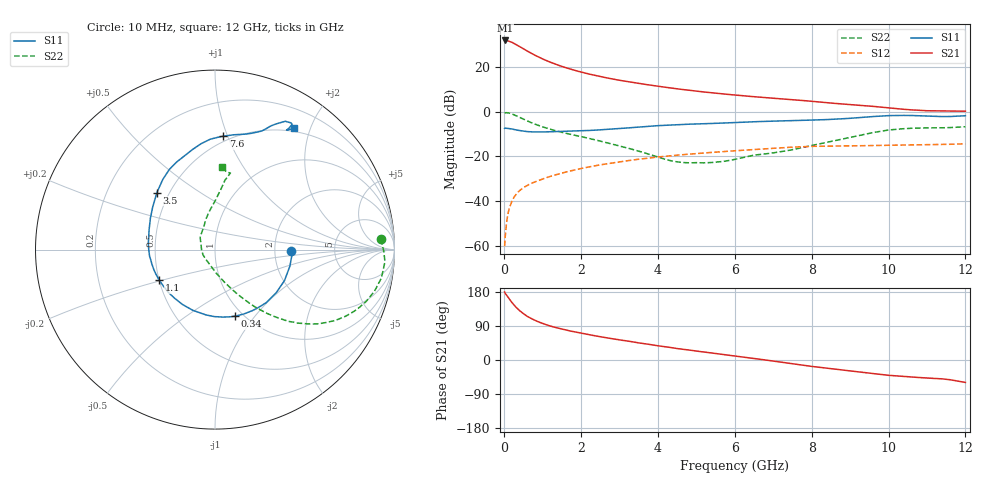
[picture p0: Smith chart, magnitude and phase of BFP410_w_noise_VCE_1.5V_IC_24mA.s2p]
! Infineon Technologies  Discrete & RF Semiconductors
! BFP410
! VCE =  1.5 V,  IC =  24 mA
! Common Emitter S-Parameters:  Nov 2015
# GHz  S  MA  R  50
!  f  S11  S21  S12  S22
! GHz  MAG  ANG  MAG  ANG  MAG  ANG  MAG  ANG
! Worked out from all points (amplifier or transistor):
!   243 points, 10 MHz to 12 GHz, reference 50 ohm
!   highest |S21| = 31.7 dB at 20 MHz (marker M1)
!   |S21| within 3 dB of that: start of sweep to 429.1 MHz
!   unconditionally stable (mu >= 1): start of sweep to 16.66 MHz; 1.618 GHz to end of sweep
!   at 240 MHz: K = 0.32, MSG = 34.6 dB, |S12| = -38.6 dB
!   at 1.84 GHz: K = 1.05, MAG = 20.9 dB, |S12| = -26.0 dB
!   at 12 GHz: K = 1.01, MAG = 6.6 dB, |S12| = -14.4 dB
!   lowest NFmin = 1.85 dB at 450 MHz
!   S11 on the Smith chart (normalised r, x): 10 MHz: 2.46, -0.06; 340 MHz: 0.92, -0.80; 1.1 GHz: 0.50, -0.20; 3.5 GHz: 0.43, +0.34; 7.6 GHz: 0.46, +0.96; 12 GHz: 0.45, +1.76
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0.01  0.4219 -1.4  38.4 179.7  0.001 116.9  0.9274 3.6
0.02  0.429 -5.0  38.65 176.9  0.0014 92.4  0.9405 -0.6
0.1  0.4239 -24.0  37.76 165.4  0.0054 82.5  0.9408 -9.6
0.2  0.4109 -46.0  35.17 151.8  0.01 75.0  0.8884 -19.2
0.26  0.3991 -58.2  33.06 144.4  0.0126 71.9  0.8469 -24.0
0.34  0.3873 -73.2  30.37 136.0  0.0154 68.4  0.7876 -29.6
0.4  0.3788 -83.0  28.33 130.2  0.0173 66.2  0.7441 -33.0
0.5  0.3675 -97.8  25.17 122.1  0.0202 63.8  0.6771 -37.8
0.6  0.3602 -110.0  22.4 115.1  0.0226 62.1  0.6185 -41.5
0.68  0.3554 -118.6  20.52 110.7  0.0245 61.2  0.5786 -43.9
0.9  0.3526 -137.8  16.41 100.2  0.0294 59.8  0.4898 -49.0
1.1  0.3545 -151.2  13.7 92.9  0.0338 59.2  0.4294 -52.5
1.48  0.3617 -169.6  10.32 82.1  0.0421 58.0  0.3488 -57.6
2.02  0.3748 171.5  7.555 70.4  0.0543 55.2  0.2751 -63.4
2.6  0.3991 154.8  5.81 59.6  0.0673 51.0  0.2092 -70.6
3.5  0.4537 135.5  4.252 45.1  0.0868 43.9  0.1317 -87.0
4.1  0.4919 125.2  3.583 36.2  0.0993 38.5  0.091 -107.0
6.1  0.5758 101.6  2.305 9.3  0.1356 20.7  0.0898 152.3
7.6  0.6332 85.9  1.82 -11.0  0.1628 5.8  0.1478 114.0
8.2  0.6562 77.9  1.641 -19.3  0.1689 -1.2  0.1908 103.2
10.2  0.8192 60.1  1.169 -41.9  0.1783 -17.6  0.403 80.8
12  0.8092 56.9  1.022 -59.2  0.1916 -32.7  0.4601 84.9
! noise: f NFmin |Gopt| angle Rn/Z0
0.45  1.85  0.17  -160  0.18
0.9  1.85  0.2  -157  0.16
1.8  2  0.24  -139  0.19
2.4  2  0.28  -125  0.24
5.5  2.89  0.46  -101  0.5
10  4.02  0.72  -45  2.79
